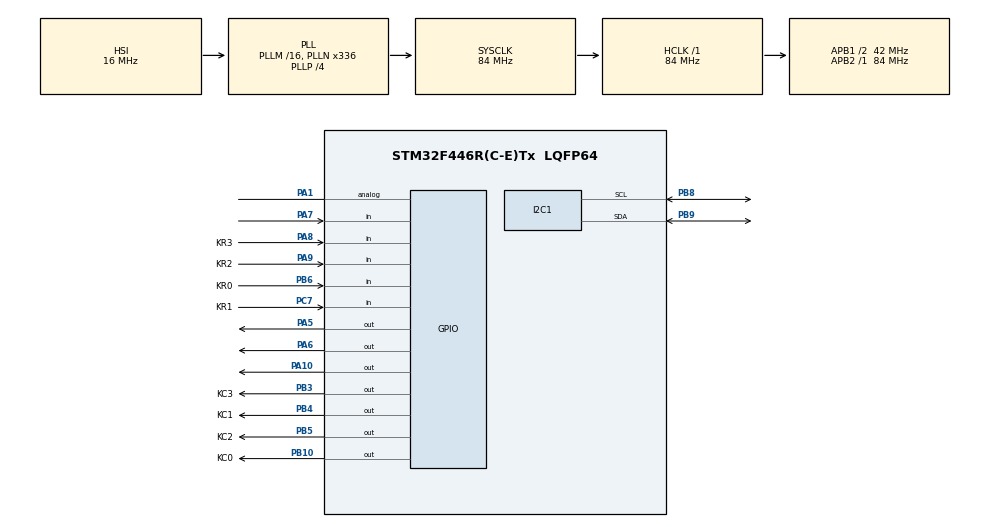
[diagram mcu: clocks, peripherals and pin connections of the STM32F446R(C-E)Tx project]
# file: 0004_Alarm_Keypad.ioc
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FREERTOS.Tasks01=KeypadTask,40,128,StartKeypadTask,Default,NULL,Dynamic,NULL,NULL;LCDTask,24,512,StartLCDTask,Default,NULL,Dynamic,NULL,NULL;LEDsTask,24,128,StartLEDsTask,Default,NULL,Dynamic,NULL,NULL;PIRTask,40,128,StartPIRTask,Default,NULL,Dynamic,NULL,NULL;BuzzerTask,24,128,StartBuzzerTask,Default,NULL,Dynamic,NULL,NULL
FREERTOS.configUSE_NEWLIB_REENTRANT=1
FREERTOS.configUSE_PREEMPTION=1
I2C1.I2C_Mode=I2C_Fast
Mcu.Family=STM32F4
Mcu.Name=STM32F446R(C-E)Tx
Mcu.Package=LQFP64
NVIC.PriorityGroup=NVIC_PRIORITYGROUP_4
NVIC.TIM6_DAC_IRQn=true\:15\:0\:false\:false\:true\:false\:false\:true\:true
NVIC.TimeBase=TIM6_DAC_IRQn
NVIC.TimeBaseIP=TIM6
PA1.Signal=GPIO_Analog
PA10.Signal=GPIO_Output
PA13.Mode=Serial_Wire
PA13.Signal=SYS_JTMS-SWDIO
PA14.Mode=Serial_Wire
PA14.Signal=SYS_JTCK-SWCLK
PA2.Signal=USART2_TX
PA3.Signal=USART2_RX
PA5.Signal=GPIO_Output
PA6.Signal=GPIO_Output
PA7.Signal=GPIO_Input
PA8.GPIO_Label=KR3
PA8.GPIO_PuPd=GPIO_PULLDOWN
PA8.Signal=GPIO_Input
PA9.GPIO_Label=KR2
PA9.GPIO_PuPd=GPIO_PULLDOWN
PA9.Signal=GPIO_Input
PB10.GPIO_Label=KC0
PB10.Signal=GPIO_Output
PB3.GPIO_Label=KC3
PB3.Signal=GPIO_Output
PB4.GPIO_Label=KC1
PB4.Signal=GPIO_Output
PB5.GPIO_Label=KC2
PB5.Signal=GPIO_Output
PB6.GPIO_Label=KR0
PB6.GPIO_PuPd=GPIO_PULLDOWN
PB6.Signal=GPIO_Input
PB8.Mode=I2C
PB8.Signal=I2C1_SCL
PB9.Mode=I2C
PB9.Signal=I2C1_SDA
PC14-OSC32_IN.Mode=LSE-External-Oscillator
PC14-OSC32_IN.Signal=RCC_OSC32_IN
PC15-OSC32_OUT.Mode=LSE-External-Oscillator
PC15-OSC32_OUT.Signal=RCC_OSC32_OUT
PC7.GPIO_Label=KR1
PC7.GPIO_PuPd=GPIO_PULLDOWN
PC7.Signal=GPIO_Input
PH0-OSC_IN.Mode=HSE-External-Oscillator
PH0-OSC_IN.Signal=RCC_OSC_IN
PH1-OSC_OUT.Mode=HSE-External-Oscillator
PH1-OSC_OUT.Signal=RCC_OSC_OUT
ProjectManager.HeapSize=0x200
ProjectManager.StackSize=0x400
ProjectManager.TargetToolchain=STM32CubeIDE
RCC.48MHZClocksFreq_Value=84000000
RCC.AHBFreq_Value=84000000
RCC.APB1CLKDivider=RCC_HCLK_DIV2
RCC.APB1Freq_Value=42000000
RCC.APB1TimFreq_Value=84000000
RCC.APB2Freq_Value=84000000
RCC.APB2TimFreq_Value=84000000
RCC.CortexFreq_Value=84000000
RCC.FLatency-AdvancedSettings=FLASH_LATENCY_2
RCC.HCLKFreq_Value=84000000
RCC.HSE_VALUE=8000000
RCC.HSI_VALUE=16000000
RCC.PLLN=336
RCC.PLLP=RCC_PLLP_DIV4
RCC.SYSCLKFreq_VALUE=84000000
RCC.SYSCLKSource=RCC_SYSCLKSOURCE_PLLCLK
RCC.USBFreq_Value=168000000
RCC.VCOOutputFreq_Value=336000000
VP_FREERTOS_VS_CMSIS_V2.Mode=CMSIS_V2
VP_SYS_VS_tim6.Mode=TIM6
board=NUCLEO-F446RE

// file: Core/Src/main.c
/* USER CODE BEGIN Header */
/**
 ******************************************************************************
 * @file           : main.c
 * @brief          : Main program body
 ******************************************************************************
 * @attention
 *
 * Copyright (c) 2024 STMicroelectronics.
 * All rights reserved.
 *
 * This software is licensed under terms that can be found in the LICENSE file
 * in the root directory of this software component.
 * If no LICENSE file comes with this software, it is provided AS-IS.
 *
 ******************************************************************************
 */
/* USER CODE END Header */
#include "main.h"
#include "cmsis_os.h"

/* USER CODE BEGIN Includes */
#include "Keypad4X4.h"
#include <stdio.h>
#include <string.h>
#include <stdlib.h>
#include "fonts.h"
#include "ssd1306.h"
#include "semphr.h"

/* USER CODE END Includes */

I2C_HandleTypeDef hi2c1;

/* Definitions for KeypadTask */
osThreadId_t KeypadTaskHandle;
const osThreadAttr_t KeypadTask_attributes = {
  .name = "KeypadTask",
  .stack_size = 128 * 4,
  .priority = (osPriority_t) osPriorityHigh,
};
/* Definitions for LCDTask */
osThreadId_t LCDTaskHandle;
const osThreadAttr_t LCDTask_attributes = {
  .name = "LCDTask",
  .stack_size = 512 * 4,
  .priority = (osPriority_t) osPriorityNormal,
};
/* Definitions for LEDsTask */
osThreadId_t LEDsTaskHandle;
const osThreadAttr_t LEDsTask_attributes = {
  .name = "LEDsTask",
  .stack_size = 128 * 4,
  .priority = (osPriority_t) osPriorityNormal,
};
/* Definitions for PIRTask */
osThreadId_t PIRTaskHandle;
const osThreadAttr_t PIRTask_attributes = {
  .name = "PIRTask",
  .stack_size = 128 * 4,
  .priority = (osPriority_t) osPriorityHigh,
};
/* Definitions for BuzzerTask */
osThreadId_t BuzzerTaskHandle;
const osThreadAttr_t BuzzerTask_attributes = {
  .name = "BuzzerTask",
  .stack_size = 128 * 4,
  .priority = (osPriority_t) osPriorityNormal,
};
/* USER CODE BEGIN PV */
extern char key;
char hold[5];
int armed = 0;
int count_value = 0;
int sync_LCD = 0;
char armed_messages[2][10] = { "Not Armed", "Armed" };

// `detected=1` if the PIR sensor detects something
int detected = 0;

// Define a event flag for LCD
osEventFlagsId_t lcdEvent;
SemaphoreHandle_t xSemaphore;
/* USER CODE END PV */

void SystemClock_Config(void);
static void MX_GPIO_Init(void);
static void MX_I2C1_Init(void);
void StartKeypadTask(void *argument);
void StartLCDTask(void *argument);
void StartLEDsTask(void *argument);
void StartPIRTask(void *argument);
void StartBuzzerTask(void *argument);

int main(void)
{

  /* MCU Configuration--------------------------------------------------------*/

  /* Reset of all peripherals, Initializes the Flash interface and the Systick. */
  HAL_Init();

  /* Configure the system clock */
  SystemClock_Config();

  /* Initialize all configured peripherals */
  MX_GPIO_Init();
  MX_I2C1_Init();
  /* USER CODE BEGIN 2 */
	/* USER CODE BEGIN 2 */

  /* USER CODE END 2 */

  /* Init scheduler */
  osKernelInitialize();

  /* USER CODE BEGIN RTOS_MUTEX */
	xSemaphore = xSemaphoreCreateMutex();
  /* USER CODE END RTOS_MUTEX */

  /* Create the thread(s) */
  /* creation of KeypadTask */
  KeypadTaskHandle = osThreadNew(StartKeypadTask, NULL, &KeypadTask_attributes);

  /* creation of LCDTask */
  LCDTaskHandle = osThreadNew(StartLCDTask, NULL, &LCDTask_attributes);

  /* creation of LEDsTask */
  LEDsTaskHandle = osThreadNew(StartLEDsTask, NULL, &LEDsTask_attributes);

  /* creation of PIRTask */
  PIRTaskHandle = osThreadNew(StartPIRTask, NULL, &PIRTask_attributes);

  /* creation of BuzzerTask */
  BuzzerTaskHandle = osThreadNew(StartBuzzerTask, NULL, &BuzzerTask_attributes);

  /* Start scheduler */
  osKernelStart();

  /* We should never get here as control is now taken by the scheduler */

  /* Infinite loop */
	while (1) {

    /* USER CODE BEGIN 3 */
		/* D10 to D7 as input pins for row 0 to row 3. D6 to D3 as output for column pins C1 to C3*/

	}
  /* USER CODE END 3 */
}

void SystemClock_Config(void)
{
  RCC_OscInitTypeDef RCC_OscInitStruct = {0};
  RCC_ClkInitTypeDef RCC_ClkInitStruct = {0};

  /** Configure the main internal regulator output voltage
  */
  __HAL_RCC_PWR_CLK_ENABLE();
  __HAL_PWR_VOLTAGESCALING_CONFIG(PWR_REGULATOR_VOLTAGE_SCALE3);

  /** Initializes the RCC Oscillators according to the specified parameters
  * in the RCC_OscInitTypeDef structure.
  */
  RCC_OscInitStruct.OscillatorType = RCC_OSCILLATORTYPE_HSI;
  RCC_OscInitStruct.HSIState = RCC_HSI_ON;
  RCC_OscInitStruct.HSICalibrationValue = RCC_HSICALIBRATION_DEFAULT;
  RCC_OscInitStruct.PLL.PLLState = RCC_PLL_ON;
  RCC_OscInitStruct.PLL.PLLSource = RCC_PLLSOURCE_HSI;
  RCC_OscInitStruct.PLL.PLLM = 16;
  RCC_OscInitStruct.PLL.PLLN = 336;
  RCC_OscInitStruct.PLL.PLLP = RCC_PLLP_DIV4;
  RCC_OscInitStruct.PLL.PLLQ = 2;
  RCC_OscInitStruct.PLL.PLLR = 2;
  if (HAL_RCC_OscConfig(&RCC_OscInitStruct) != HAL_OK)
  {
    Error_Handler();
  }

  /** Initializes the CPU, AHB and APB buses clocks
  */
  RCC_ClkInitStruct.ClockType = RCC_CLOCKTYPE_HCLK|RCC_CLOCKTYPE_SYSCLK
                              |RCC_CLOCKTYPE_PCLK1|RCC_CLOCKTYPE_PCLK2;
  RCC_ClkInitStruct.SYSCLKSource = RCC_SYSCLKSOURCE_PLLCLK;
  RCC_ClkInitStruct.AHBCLKDivider = RCC_SYSCLK_DIV1;
  RCC_ClkInitStruct.APB1CLKDivider = RCC_HCLK_DIV2;
  RCC_ClkInitStruct.APB2CLKDivider = RCC_HCLK_DIV1;

  if (HAL_RCC_ClockConfig(&RCC_ClkInitStruct, FLASH_LATENCY_2) != HAL_OK)
  {
    Error_Handler();
  }
}

static void MX_I2C1_Init(void)
{

  hi2c1.Instance = I2C1;
  hi2c1.Init.ClockSpeed = 400000;
  hi2c1.Init.DutyCycle = I2C_DUTYCYCLE_2;
  hi2c1.Init.OwnAddress1 = 0;
  hi2c1.Init.AddressingMode = I2C_ADDRESSINGMODE_7BIT;
  hi2c1.Init.DualAddressMode = I2C_DUALADDRESS_DISABLE;
  hi2c1.Init.OwnAddress2 = 0;
  hi2c1.Init.GeneralCallMode = I2C_GENERALCALL_DISABLE;
  hi2c1.Init.NoStretchMode = I2C_NOSTRETCH_DISABLE;
  if (HAL_I2C_Init(&hi2c1) != HAL_OK)
  {
    Error_Handler();
  }

}

static void MX_GPIO_Init(void)
{
  GPIO_InitTypeDef GPIO_InitStruct = {0};

  /* GPIO Ports Clock Enable */
  __HAL_RCC_GPIOC_CLK_ENABLE();
  __HAL_RCC_GPIOH_CLK_ENABLE();
  __HAL_RCC_GPIOA_CLK_ENABLE();
  __HAL_RCC_GPIOB_CLK_ENABLE();

  /*Configure GPIO pin Output Level */
  HAL_GPIO_WritePin(GPIOA, GPIO_PIN_5|GPIO_PIN_6|GPIO_PIN_10, GPIO_PIN_RESET);

  /*Configure GPIO pin Output Level */
  HAL_GPIO_WritePin(GPIOB, KC0_Pin|KC3_Pin|KC1_Pin|KC2_Pin, GPIO_PIN_RESET);

  /*Configure GPIO pin : PA1 */
  GPIO_InitStruct.Pin = GPIO_PIN_1;
  GPIO_InitStruct.Mode = GPIO_MODE_ANALOG;
  GPIO_InitStruct.Pull = GPIO_NOPULL;
  HAL_GPIO_Init(GPIOA, &GPIO_InitStruct);

  /*Configure GPIO pins : PA2 PA3 */
  GPIO_InitStruct.Pin = GPIO_PIN_2|GPIO_PIN_3;
  GPIO_InitStruct.Mode = GPIO_MODE_AF_PP;
  GPIO_InitStruct.Pull = GPIO_NOPULL;
  GPIO_InitStruct.Speed = GPIO_SPEED_FREQ_VERY_HIGH;
  GPIO_InitStruct.Alternate = GPIO_AF7_USART2;
  HAL_GPIO_Init(GPIOA, &GPIO_InitStruct);

  /*Configure GPIO pins : PA5 PA6 PA10 */
  GPIO_InitStruct.Pin = GPIO_PIN_5|GPIO_PIN_6|GPIO_PIN_10;
  GPIO_InitStruct.Mode = GPIO_MODE_OUTPUT_PP;
  GPIO_InitStruct.Pull = GPIO_NOPULL;
  GPIO_InitStruct.Speed = GPIO_SPEED_FREQ_LOW;
  HAL_GPIO_Init(GPIOA, &GPIO_InitStruct);

  /*Configure GPIO pin : PA7 */
  GPIO_InitStruct.Pin = GPIO_PIN_7;
  GPIO_InitStruct.Mode = GPIO_MODE_INPUT;
  GPIO_InitStruct.Pull = GPIO_NOPULL;
  HAL_GPIO_Init(GPIOA, &GPIO_InitStruct);

  /*Configure GPIO pins : KC0_Pin KC3_Pin KC1_Pin KC2_Pin */
  GPIO_InitStruct.Pin = KC0_Pin|KC3_Pin|KC1_Pin|KC2_Pin;
  GPIO_InitStruct.Mode = GPIO_MODE_OUTPUT_PP;
  GPIO_InitStruct.Pull = GPIO_NOPULL;
  GPIO_InitStruct.Speed = GPIO_SPEED_FREQ_LOW;
  HAL_GPIO_Init(GPIOB, &GPIO_InitStruct);

  /*Configure GPIO pin : KR1_Pin */
  GPIO_InitStruct.Pin = KR1_Pin;
  GPIO_InitStruct.Mode = GPIO_MODE_INPUT;
  GPIO_InitStruct.Pull = GPIO_PULLDOWN;
  HAL_GPIO_Init(KR1_GPIO_Port, &GPIO_InitStruct);

  /*Configure GPIO pins : KR3_Pin KR2_Pin */
  GPIO_InitStruct.Pin = KR3_Pin|KR2_Pin;
  GPIO_InitStruct.Mode = GPIO_MODE_INPUT;
  GPIO_InitStruct.Pull = GPIO_PULLDOWN;
  HAL_GPIO_Init(GPIOA, &GPIO_InitStruct);

  /*Configure GPIO pin : KR0_Pin */
  GPIO_InitStruct.Pin = KR0_Pin;
  GPIO_InitStruct.Mode = GPIO_MODE_INPUT;
  GPIO_InitStruct.Pull = GPIO_PULLDOWN;
  HAL_GPIO_Init(KR0_GPIO_Port, &GPIO_InitStruct);

}

void StartKeypadTask(void *argument)
{
  /* USER CODE BEGIN 5 */
	/* Infinite loop */

	char code[5];
	int numInputs = 0;

	osDelay(1000);

	for (;;) {

		if(sync_LCD == 0) {
			if(xSemaphoreTake(xSemaphore, ( TickType_t ) 10 ) == pdTRUE && sync_LCD == 0) {
				key = Get_Key();
				hold[numInputs] = key;
				numInputs++;
				// Signal LCDTask to update the display after pressing each key
				//osEventFlagsSet(lcdEvent, 0x01);

				if (numInputs == 4) {
					if (armed == 0) {
						strcpy(code, hold);
						xSemaphoreGive(xSemaphore);
						for (int i = 0; i < 4; i++) {
							hold[i] = '\0';
						}
						for(count_value = 60; count_value > 0; count_value--) {
							osDelay(1000);
						}

						armed = 1;

					} else {
						if (strcmp(code, hold) == 0) {
							armed = 0;
							detected = 0;
							for (int i = 0; i < 4; i++) {
								code[i] = '\0';
							}
						}
					}

					for (int i = 0; i < 4; i++) {
						hold[i] = '\0';
					}
					numInputs = 0;
				}

				xSemaphoreGive(xSemaphore);
				sync_LCD = 1;
			}
		}
		osDelay(300);
	}

  /* USER CODE END 5 */
}

void StartLCDTask(void *argument)
{
  /* USER CODE BEGIN StartLCDTask */
	SSD1306_Init();

	// Initial message on the LCD
	SSD1306_Fill(SSD1306_COLOR_BLACK);
	SSD1306_GotoXY(0, 0);
	SSD1306_Puts(armed_messages[armed], &Font_11x18, 1);
	SSD1306_UpdateScreen();

	osDelay(100);

	/* Infinite loop */
	for (;;) {
		// Wait for a keypad event
		//osEventFlagsWait(lcdEvent, 0x01, osFlagsWaitAny, osWaitForever)}
		if(xSemaphoreTake(xSemaphore, ( TickType_t ) 10 ) == pdTRUE) {
			SSD1306_Fill(SSD1306_COLOR_BLACK);
			SSD1306_GotoXY(0, 0);
			SSD1306_Puts(armed_messages[armed], &Font_11x18, 1);

			if (strlen(hold) > 0) {

				char stars[4][5] = { "*", "**", "***", "****" };

				SSD1306_GotoXY(0, 30);
				SSD1306_Puts(stars[strlen(hold) - 1], &Font_11x18, 1);
			}

			if(count_value > 0) {
				char str[3];
				sprintf(str, "%d", count_value);
				SSD1306_GotoXY(0, 30);
				SSD1306_Puts(str, &Font_11x18, 1);
			}

			SSD1306_UpdateScreen();
			xSemaphoreGive(xSemaphore);
			sync_LCD = 0;
		}
		osDelay(100);
	}

	/*
	 * SSD1306_Init();
	 SSD1306_GotoXY(0, 0);
	 //SSD1306_Puts ("Voltage:", &Font_11x18, 1);
	 SSD1306_Puts("Enter Code:", &Font_11x18, 1);
	 SSD1306_GotoXY(0, 30);
	 SSD1306_UpdateScreen();
	 SSD1306_UpdateScreen();
	 HAL_Delay(500);
	 */
  /* USER CODE END StartLCDTask */
}

void StartLEDsTask(void *argument)
{
  /* USER CODE BEGIN StartLEDsTask */

	/* Infinite loop */
	for (;;) {
		// Not armed
		if (armed) {
			// Turn on Green LED
			HAL_GPIO_WritePin(GPIOA, GPIO_PIN_6, GPIO_PIN_SET);

			// Turn off Red LED
			HAL_GPIO_WritePin(GPIOA, GPIO_PIN_10, GPIO_PIN_RESET);
		}

		osDelay(10);
		// Armed
		if (!armed) {
			// Turn off Green LED
			HAL_GPIO_WritePin(GPIOA, GPIO_PIN_6, GPIO_PIN_RESET);

			// Turn on Red LED
			HAL_GPIO_WritePin(GPIOA, GPIO_PIN_10, GPIO_PIN_SET);
		}
	}
  /* USER CODE END StartLEDsTask */
}

/* USER CODE BEGIN Header_StartPIRTask */
/**
 * @brief Function implementing the PIRTask threadx`
 * @param argument: Not used
 * @retval None
 */
/* USER CODE END Header_StartPIRTask */
void StartPIRTask(void *argument)
{
  /* USER CODE BEGIN StartPIRTask */
	/* Infinite loop */
	osDelay(1000);
	for (;;) {
		if(sync_LCD == 0) {
			//if(xSemaphoreTake(xSemaphore, ( TickType_t ) 10 ) == pdTRUE) {
		// If the PIR detects something, wait 60 seconds to let the user enter the code to disarm the system, otherwise sound the buzzer
				if (HAL_GPIO_ReadPin(GPIOA, GPIO_PIN_7) == GPIO_PIN_SET) {
				// Delay 60 seconds
					if (armed) {
						osDelay(2000);
						if(armed) {
							detected = 1;
							HAL_GPIO_WritePin(GPIOA, GPIO_PIN_5, GPIO_PIN_SET);
						}
					}

					//if(!(xSemaphoreTake(xSemaphore, ( TickType_t ) 10 ) == pdTRUE)) {
						//xSemaphoreGive(xSemaphore);
					//}
					// After detection, keypad loses functionality
			}
		//}
	}
	osDelay(100);
}
  /* USER CODE END StartPIRTask */
}

void StartBuzzerTask(void *argument)
{
  /* USER CODE BEGIN StartBuzzerTask */

	/* Infinite loop */
	for (;;) {

		if(detected) {
			HAL_GPIO_WritePin(GPIOA, GPIO_PIN_5, GPIO_PIN_SET);
		} else {
			HAL_GPIO_WritePin(GPIOA, GPIO_PIN_5, GPIO_PIN_RESET);
		}

		osDelay(100);

		/*while (detected) {
			HAL_GPIO_WritePin(GPIOA, GPIO_PIN_5, GPIO_PIN_SET);
			osDelay(100);
		}
		osDelay(10);
		while (!detected) {
			HAL_GPIO_WritePin(GPIOA, GPIO_PIN_5, GPIO_PIN_RESET);
			osDelay(100);
		}*/
	}
  /* USER CODE END StartBuzzerTask */
}

void HAL_TIM_PeriodElapsedCallback(TIM_HandleTypeDef *htim)
{
  if (htim->Instance == TIM6) {
    HAL_IncTick();
  }
}

void Error_Handler(void)
{
	__disable_irq();
	while (1) {
	}
}
